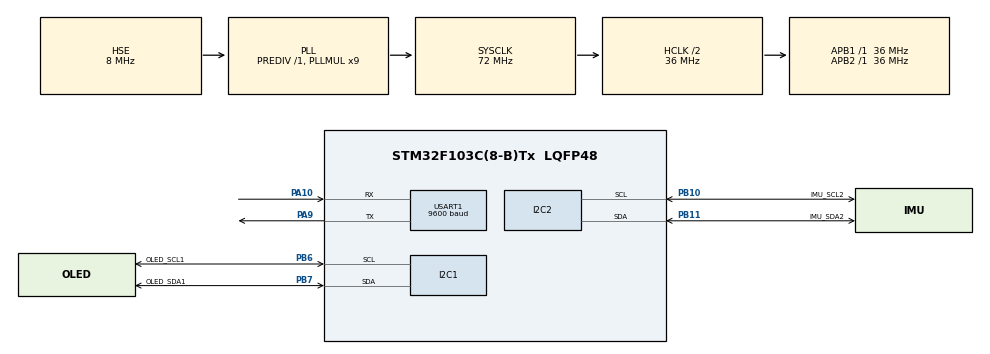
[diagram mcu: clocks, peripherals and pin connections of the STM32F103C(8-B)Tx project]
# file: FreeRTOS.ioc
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Dma.Request0=USART1_RX
Dma.Request1=USART1_TX
Dma.USART1_RX.0.Direction=DMA_PERIPH_TO_MEMORY
Dma.USART1_RX.0.Instance=DMA1_Channel5
Dma.USART1_RX.0.MemDataAlignment=DMA_MDATAALIGN_BYTE
Dma.USART1_RX.0.MemInc=DMA_MINC_ENABLE
Dma.USART1_RX.0.Mode=DMA_NORMAL
Dma.USART1_RX.0.PeriphDataAlignment=DMA_PDATAALIGN_BYTE
Dma.USART1_RX.0.PeriphInc=DMA_PINC_DISABLE
Dma.USART1_RX.0.Priority=DMA_PRIORITY_LOW
Dma.USART1_TX.1.Direction=DMA_MEMORY_TO_PERIPH
Dma.USART1_TX.1.Instance=DMA1_Channel4
Dma.USART1_TX.1.MemDataAlignment=DMA_MDATAALIGN_BYTE
Dma.USART1_TX.1.MemInc=DMA_MINC_ENABLE
Dma.USART1_TX.1.Mode=DMA_NORMAL
Dma.USART1_TX.1.PeriphDataAlignment=DMA_PDATAALIGN_BYTE
Dma.USART1_TX.1.PeriphInc=DMA_PINC_DISABLE
Dma.USART1_TX.1.Priority=DMA_PRIORITY_LOW
FREERTOS.Tasks01=OledTask,8,256,StartOledTask,Default,NULL,Dynamic,NULL,NULL;ImuTask,24,256,StartImuTask,Default,NULL,Dynamic,NULL,NULL;UsartTask,40,256,StartUsartTask,Default,NULL,Dynamic,NULL,NULL
FREERTOS.configTOTAL_HEAP_SIZE=10240
I2C2.DualAddressMode=I2C_DUALADDRESS_DISABLE
I2C2.I2C_Mode=I2C_Standard
Mcu.Family=STM32F1
Mcu.Name=STM32F103C(8-B)Tx
Mcu.Package=LQFP48
NVIC.DMA1_Channel4_IRQn=true\:5\:0\:false\:false\:true\:true\:false\:true\:true
NVIC.DMA1_Channel5_IRQn=true\:5\:0\:false\:false\:true\:true\:false\:true\:true
NVIC.PriorityGroup=NVIC_PRIORITYGROUP_4
NVIC.TIM4_IRQn=true\:15\:0\:false\:false\:true\:false\:false\:true\:true
NVIC.TimeBase=TIM4_IRQn
NVIC.TimeBaseIP=TIM4
NVIC.USART1_IRQn=true\:5\:0\:false\:false\:true\:true\:true\:true\:true
PA10.Mode=Asynchronous
PA10.Signal=USART1_RX
PA13.Mode=Serial_Wire
PA13.Signal=SYS_JTMS-SWDIO
PA14.Mode=Serial_Wire
PA14.Signal=SYS_JTCK-SWCLK
PA9.Mode=Asynchronous
PA9.Signal=USART1_TX
PB10.GPIO_Label=IMU_SCL2
PB10.Mode=I2C
PB10.Signal=I2C2_SCL
PB11.GPIO_Label=IMU_SDA2
PB11.Mode=I2C
PB11.Signal=I2C2_SDA
PB6.GPIO_Label=OLED_SCL1
PB6.Mode=I2C
PB6.Signal=I2C1_SCL
PB7.GPIO_Label=OLED_SDA1
PB7.Mode=I2C
PB7.Signal=I2C1_SDA
PC14-OSC32_IN.Mode=LSE-External-Oscillator
PC14-OSC32_IN.Signal=RCC_OSC32_IN
PC15-OSC32_OUT.Mode=LSE-External-Oscillator
PC15-OSC32_OUT.Signal=RCC_OSC32_OUT
PD0-OSC_IN.Mode=HSE-External-Oscillator
PD0-OSC_IN.Signal=RCC_OSC_IN
PD1-OSC_OUT.Mode=HSE-External-Oscillator
PD1-OSC_OUT.Signal=RCC_OSC_OUT
ProjectManager.HeapSize=0x200
ProjectManager.StackSize=0x400
ProjectManager.TargetToolchain=MDK-ARM V5.32
RCC.AHBCLKDivider=RCC_SYSCLK_DIV2
RCC.AHBFreq_Value=36000000
RCC.APB1Freq_Value=36000000
RCC.APB1TimFreq_Value=36000000
RCC.APB2Freq_Value=36000000
RCC.APB2TimFreq_Value=36000000
RCC.HCLKFreq_Value=36000000
RCC.PLLMUL=RCC_PLL_MUL9
RCC.PLLSourceVirtual=RCC_PLLSOURCE_HSE
RCC.SYSCLKFreq_VALUE=72000000
RCC.SYSCLKSource=RCC_SYSCLKSOURCE_PLLCLK
RCC.USBFreq_Value=72000000
USART1.BaudRate=9600
USART1.VirtualMode=VM_ASYNC
VP_FREERTOS_VS_CMSIS_V2.Mode=CMSIS_V2
VP_SYS_VS_tim4.Mode=TIM4
board=custom

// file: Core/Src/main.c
/* USER CODE BEGIN Header */
/**
  ******************************************************************************
  * @file           : main.c
  * @brief          : Main program body
  ******************************************************************************
  * @attention
  *
  * Copyright (c) 2026 STMicroelectronics.
  * All rights reserved.
  *
  * This software is licensed under terms that can be found in the LICENSE file
  * in the root directory of this software component.
  * If no LICENSE file comes with this software, it is provided AS-IS.
  *
  ******************************************************************************
  */
/* USER CODE END Header */
#include "main.h"
#include "cmsis_os.h"
#include "dma.h"
#include "i2c.h"
#include "usart.h"
#include "gpio.h"

void SystemClock_Config(void);
void MX_FREERTOS_Init(void);

int main(void)
{

  /* MCU Configuration--------------------------------------------------------*/

  /* Reset of all peripherals, Initializes the Flash interface and the Systick. */
  HAL_Init();

  /* Configure the system clock */
  SystemClock_Config();

  /* Initialize all configured peripherals */
  MX_GPIO_Init();
  MX_DMA_Init();
  MX_I2C1_Init();
  MX_I2C2_Init();
  MX_USART1_UART_Init();

  /* Init scheduler */
  osKernelInitialize();  /* Call init function for freertos objects (in cmsis_os2.c) */
  MX_FREERTOS_Init();

  /* Start scheduler */
  osKernelStart();

  /* We should never get here as control is now taken by the scheduler */

  /* Infinite loop */
  while (1)
  {

  }
}

void SystemClock_Config(void)
{
  RCC_OscInitTypeDef RCC_OscInitStruct = {0};
  RCC_ClkInitTypeDef RCC_ClkInitStruct = {0};

  /** Initializes the RCC Oscillators according to the specified parameters
  * in the RCC_OscInitTypeDef structure.
  */
  RCC_OscInitStruct.OscillatorType = RCC_OSCILLATORTYPE_HSE;
  RCC_OscInitStruct.HSEState = RCC_HSE_ON;
  RCC_OscInitStruct.HSEPredivValue = RCC_HSE_PREDIV_DIV1;
  RCC_OscInitStruct.HSIState = RCC_HSI_ON;
  RCC_OscInitStruct.PLL.PLLState = RCC_PLL_ON;
  RCC_OscInitStruct.PLL.PLLSource = RCC_PLLSOURCE_HSE;
  RCC_OscInitStruct.PLL.PLLMUL = RCC_PLL_MUL9;
  if (HAL_RCC_OscConfig(&RCC_OscInitStruct) != HAL_OK)
  {
    Error_Handler();
  }

  /** Initializes the CPU, AHB and APB buses clocks
  */
  RCC_ClkInitStruct.ClockType = RCC_CLOCKTYPE_HCLK|RCC_CLOCKTYPE_SYSCLK
                              |RCC_CLOCKTYPE_PCLK1|RCC_CLOCKTYPE_PCLK2;
  RCC_ClkInitStruct.SYSCLKSource = RCC_SYSCLKSOURCE_PLLCLK;
  RCC_ClkInitStruct.AHBCLKDivider = RCC_SYSCLK_DIV2;
  RCC_ClkInitStruct.APB1CLKDivider = RCC_HCLK_DIV1;
  RCC_ClkInitStruct.APB2CLKDivider = RCC_HCLK_DIV1;

  if (HAL_RCC_ClockConfig(&RCC_ClkInitStruct, FLASH_LATENCY_2) != HAL_OK)
  {
    Error_Handler();
  }
}

void HAL_TIM_PeriodElapsedCallback(TIM_HandleTypeDef *htim)
{
  if (htim->Instance == TIM4)
  {
    HAL_IncTick();
  }
}

void Error_Handler(void)
{
  __disable_irq();
  while (1)
  {
  }
}

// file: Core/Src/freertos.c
/* USER CODE BEGIN Header */
/**
  ******************************************************************************
  * File Name          : freertos.c
  * Description        : Code for freertos applications
  ******************************************************************************
  * @attention
  *
  * Copyright (c) 2026 STMicroelectronics.
  * All rights reserved.
  *
  * This software is licensed under terms that can be found in the LICENSE file
  * in the root directory of this software component.
  * If no LICENSE file comes with this software, it is provided AS-IS.
  *
  ******************************************************************************
  */
/* USER CODE END Header */

#include "FreeRTOS.h"
#include "task.h"
#include "main.h"
#include "cmsis_os.h"

/* USER CODE BEGIN Includes */
#include <stdio.h>
#include <string.h>

#include "queue.h"

#include "i2c.h"
#include "usart.h"

#include "Serial.h"
#include "IMU.h"
#include "IMU_alg.h"
#include "OLED.h"

/* USER CODE END Includes */

/* USER CODE BEGIN Variables */

QueueHandle_t ImuDataQueue;

/* USER CODE END Variables */
/* Definitions for OledTask */
osThreadId_t OledTaskHandle;
const osThreadAttr_t OledTask_attributes = {
  .name = "OledTask",
  .stack_size = 256 * 4,
  .priority = (osPriority_t) osPriorityLow,
};
/* Definitions for ImuTask */
osThreadId_t ImuTaskHandle;
const osThreadAttr_t ImuTask_attributes = {
  .name = "ImuTask",
  .stack_size = 256 * 4,
  .priority = (osPriority_t) osPriorityNormal,
};
/* Definitions for UsartTask */
osThreadId_t UsartTaskHandle;
const osThreadAttr_t UsartTask_attributes = {
  .name = "UsartTask",
  .stack_size = 256 * 4,
  .priority = (osPriority_t) osPriorityHigh,
};

void StartOledTask(void *argument);
void StartImuTask(void *argument);
void StartUsartTask(void *argument);

void MX_FREERTOS_Init(void); /* (MISRA C 2004 rule 8.1) */

void MX_FREERTOS_Init(void) {

  /* USER CODE BEGIN RTOS_QUEUES */
    ImuDataQueue = xQueueCreate(1, sizeof(Attitude_t));    // 长度1，Item 12
  /* add queues, ... */
  /* USER CODE END RTOS_QUEUES */

  /* Create the thread(s) */
  /* creation of OledTask */
  OledTaskHandle = osThreadNew(StartOledTask, NULL, &OledTask_attributes);

  /* creation of ImuTask */
  ImuTaskHandle = osThreadNew(StartImuTask, NULL, &ImuTask_attributes);

  /* creation of UsartTask */
  UsartTaskHandle = osThreadNew(StartUsartTask, NULL, &UsartTask_attributes);

}

void StartOledTask(void *argument)
{
  /* USER CODE BEGIN StartOledTask */
  char buf[14];
  Attitude_t att;

  OLED_Init(&hi2c1);

  OLED_Clear();

  /* Infinite loop */
  for(;;)
  {
      if (xQueuePeek(ImuDataQueue, &att, pdMS_TO_TICKS(100)) == pdTRUE)
      {
          sprintf(buf, "Roll :%4.1f", att.roll);
          OLED_ShowString(1, 1, buf);
          sprintf(buf, "Pitch:%4.1f", att.pitch);
          OLED_ShowString(2, 1, buf);
          sprintf(buf, "Yaw  :%4.1f", att.yaw);
          OLED_ShowString(3, 1, buf);
      }
      vTaskDelay(pdMS_TO_TICKS(50));
  }
  /* USER CODE END StartOledTask */
}

void StartImuTask(void *argument)
{
  /* USER CODE BEGIN StartImuTask */
  MPU6050_Init(&hi2c2);

  int16_t acc[3], gyro[3];
  TickType_t lastWake = xTaskGetTickCount();

  /* Infinite loop */
  for(;;)
  {
      MPU6050_ReadRaw(&hi2c2, acc, gyro);
      IMU_UpdateAttitude(acc, gyro);
      xQueueOverwrite(ImuDataQueue, &attitude);
      vTaskDelayUntil(&lastWake, pdMS_TO_TICKS(5));
  }
  /* USER CODE END StartImuTask */
}

void StartUsartTask(void *argument)
{
  /* USER CODE BEGIN StartUsartTask */

  Usart_Init();

  /* Infinite loop */
  for(;;)
  {
    if (xSemaphoreTake(UsartRxSem, portMAX_DELAY) == pdTRUE)
    {
        uint16_t Len = RxLen;

        HAL_UARTEx_ReceiveToIdle_DMA(&huart1, RxDmaBuf, RX_BUF_SIZE);
        __HAL_DMA_DISABLE_IT(huart1.hdmarx, DMA_IT_HT);

        memcpy(TxBuf, RxDmaBuf, Len);
        HAL_UART_Transmit_DMA(&huart1, TxBuf, Len);

        xSemaphoreTake(UsartTxSem, portMAX_DELAY);
    }
  }
  /* USER CODE END StartUsartTask */
}
